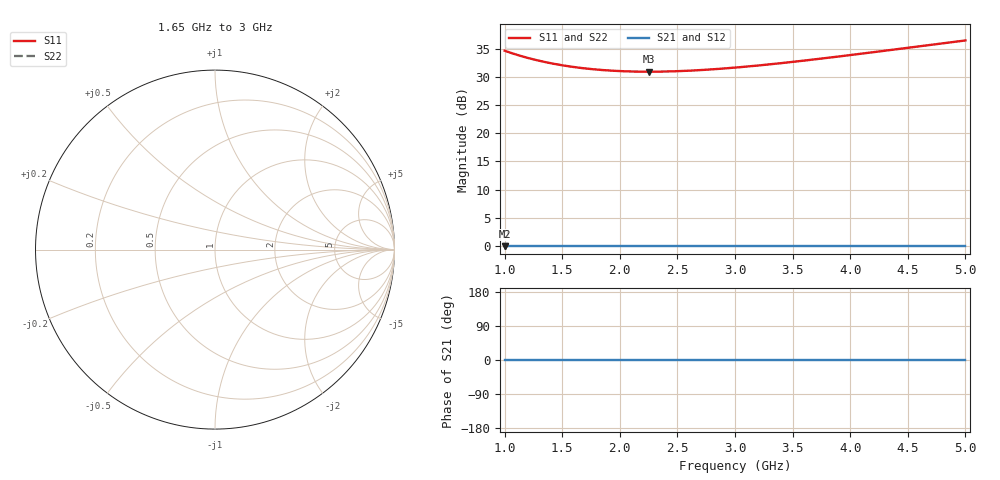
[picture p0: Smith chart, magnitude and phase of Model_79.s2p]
# GHZ S RI R 50
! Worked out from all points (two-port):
!   401 points, 1 GHz to 5 GHz, reference 50 ohm
!   highest |S21| = 0.00 dB at 1 GHz (marker M1); lowest = 0.0 dB at 1 GHz (marker M2)
!   |S21| within 3 dB of the highest: start of sweep to end of sweep
!   lowest |S11| = 30.9 dB at 2.25 GHz (marker M3)
!   |S11| at or under -10 dB: nowhere
!   |S22| runs from 30.9 to 36.4 dB; largest |S21 - S12| = 0
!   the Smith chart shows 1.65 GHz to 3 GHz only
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1  53.83 0  1 0  1 0  53.83 0
1.15  48.06 0  1 0  1 0  48.06 0
1.22  45.94 0  1 0  1 0  45.94 0
1.3  43.87 0  1 0  1 0  43.87 0
1.38  42.13 0  1 0  1 0  42.13 0
1.47  40.48 0  1 0  1 0  40.48 0
1.57  38.99 0  1 0  1 0  38.99 0
1.67  37.8 0  1 0  1 0  37.8 0
1.8  36.64 0  1 0  1 0  36.64 0
1.94  35.79 0  1 0  1 0  35.79 0
2.09  35.26 0  1 0  1 0  35.26 0
2.25  35.09 0  1 0  1 0  35.09 0
2.34  35.14 0  1 0  1 0  35.14 0
2.5  35.47 0  1 0  1 0  35.47 0
2.66  36.07 0  1 0  1 0  36.07 0
3  38.14 0  1 0  1 0  38.14 0
3.33  41.05 0  1 0  1 0  41.05 0
3.67  44.85 0  1 0  1 0  44.85 0
4  49.24 0  1 0  1 0  49.24 0
4.34  54.45 0  1 0  1 0  54.45 0
4.63  59.39 0  1 0  1 0  59.39 0
5  66.36 0  1 0  1 0  66.36 0
